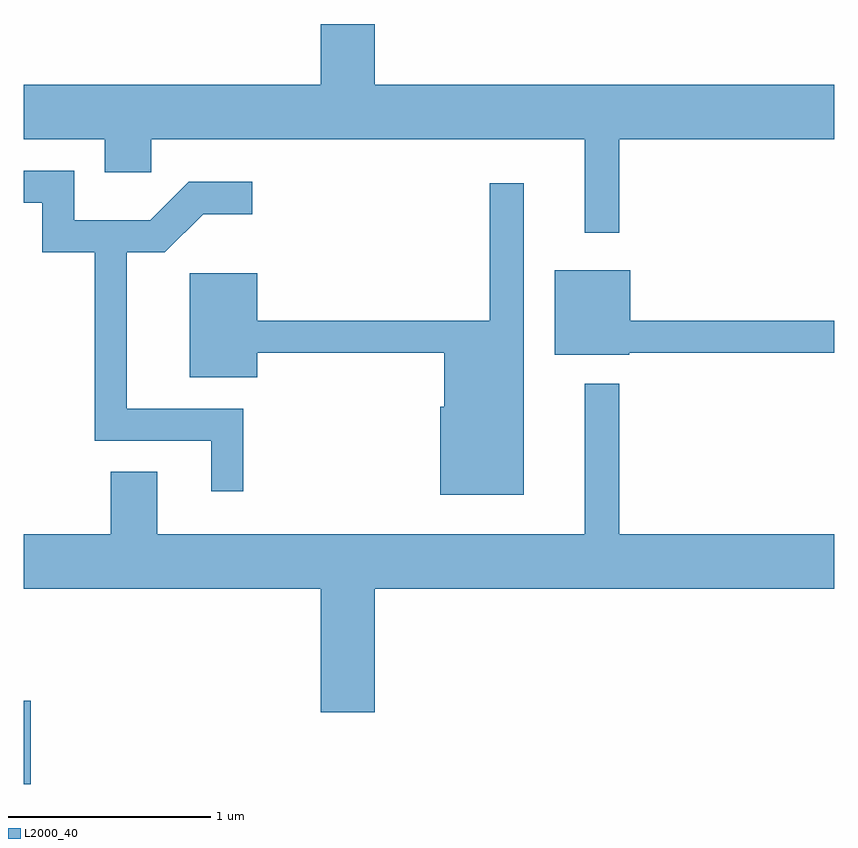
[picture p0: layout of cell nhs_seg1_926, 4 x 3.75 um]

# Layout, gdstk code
import gdstk
lib = gdstk.Library(unit=1e-6, precision=1e-09)
def R(c, l, rs):  # rectangles x0, y0, x1, y1
    for r in rs: c.add(gdstk.rectangle(r[:2], r[2:], *l))
def P(c, l, *ps):  # polygons
    for p in ps: c.add(gdstk.Polygon(p, *l))
L2000_40 = (2000, 40)

nhs_seg1_926 = lib.new_cell('nhs_seg1_926')
R(nhs_seg1_926, L2000_40, [(213.611,909.712,213.644,910.124)])
P(nhs_seg1_926, L2000_40, [(216.549,912.896),(217.611,912.896),(217.611,913.164),(215.344,913.164),(215.344,913.464),(215.076,913.464),(215.076,913.164),(213.611,913.164),(213.611,912.896),(214.011,912.896),(214.011,912.731),(214.239,912.731),(214.239,912.896),(216.381,912.896),(216.381,912.433),(216.549,912.433)],
  [(214.694,911.564),(214.119,911.564),(214.119,912.336),(214.307,912.336),(214.497,912.526),(214.738,912.526),(214.738,912.684),(214.424,912.684),(214.234,912.494),(213.859,912.494),(213.859,912.739),(213.611,912.739),(213.611,912.581),(213.701,912.581),(213.701,912.336),(213.961,912.336),(213.961,911.406),(214.536,911.406),(214.536,911.158),(214.694,911.158)],
  [(216.079,912.678),(215.911,912.678),(215.911,911.999),(214.764,911.999),(214.764,912.234),(214.431,912.234),(214.431,911.721),(214.764,911.721),(214.764,911.841),(215.686,911.841),(215.686,911.574),(215.666,911.574),(215.666,911.141),(216.079,911.141)],
  [(216.6,911.841),(217.611,911.841),(217.611,911.999),(216.604,911.999),(216.604,912.249),(216.231,912.249),(216.231,911.831),(216.6,911.831)],
  [(215.344,910.676),(217.611,910.676),(217.611,910.944),(216.549,910.944),(216.549,911.688),(216.381,911.688),(216.381,910.944),(214.269,910.944),(214.269,911.254),(214.041,911.254),(214.041,910.944),(213.611,910.944),(213.611,910.676),(215.076,910.676),(215.076,910.066),(215.344,910.066)])

lib.write_gds('nhs_seg1_926.gds')
